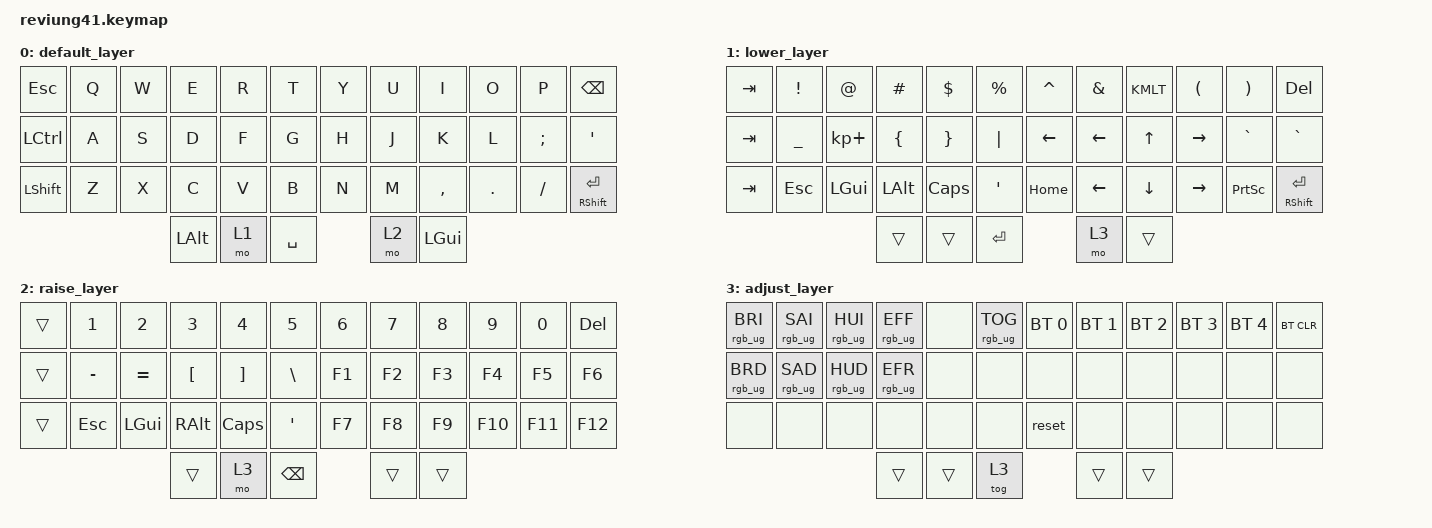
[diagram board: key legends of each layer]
/*
 * Copyright (c) 2020 The ZMK Contributors
 *
 * SPDX-License-Identifier: MIT
 */

#include <behaviors.dtsi>
#include <dt-bindings/zmk/keys.h>
#include <dt-bindings/zmk/bt.h>
#include <dt-bindings/zmk/rgb.h>

/ {
        keymap {
                compatible = "zmk,keymap";

                default_layer {
// -------------------------------------------------------------------------------------
// |  ESC |  Q  |  W  |  E  |  R  |  T  |   |  Y  |  U   |  I  |  O  |  P  |   BKSP    |
// | CTRL |  A  |  S  |  D  |  F  |  G  |   |  H  |  J   |  K  |  L  |  ;  |    '      |
// | SHFT |  Z  |  X  |  C  |  V  |  B  |   |  N  |  M   |  ,  |  .  |  /  | SHFT(RET) |
//                         | ALT | LWR | SPC | RSE  | ALT |
                        bindings = <
   &kp ESC   &kp Q &kp W &kp E &kp R &kp T   &kp Y &kp U  &kp I     &kp O   &kp P    &kp BSPC
   &kp LCTRL &kp A &kp S &kp D &kp F &kp G   &kp H &kp J  &kp K     &kp L   &kp SEMI &kp SQT
   &kp LSHFT &kp Z &kp X &kp C &kp V &kp B   &kp N &kp M  &kp COMMA &kp DOT &kp FSLH &mt RSHFT RET
                        &kp LALT  &mo 1 &kp SPACE &mo 2  &kp LGUI
                        >;
                };

                lower_layer {
// ----------------------------------------------------------------------------------
// |TAB |  !  |  @  |  #  |  $  |  %  |   |  ^  |  &  |  *  |  (  |  )  |    DEL    |
// |TAB |  _  |  +  |  {  |  }  | "|" |   | LFT | DWN |  UP | RGT |  `  |     ~     |
// |TAB | ESC | GUI | ALT | CAPS|  "  |   | HOME| END | PGUP| PGDN| PRSC| SHFT(RET) |
//                       |     |     | RET | ADJ |     |
                        bindings = <
   &kp TAB &kp EXCL  &kp AT      &kp HASH &kp DLLR &kp PRCNT      &kp CARET &kp AMPS &kp KMLT  &kp LPAR  &kp RPAR  &kp DEL
   &kp TAB &kp UNDER &kp KP_PLUS &kp LBRC &kp RBRC &kp PIPE       &kp LEFT  &kp LEFT &kp UP    &kp RIGHT &kp GRAVE &kp GRAVE
   &kp TAB &kp ESC   &kp LGUI    &kp LALT &kp CLCK &kp SQT        &kp HOME  &kp LEFT  &kp DOWN &kp RIGHT &kp PSCRN &mt RSHFT RET
                                 &trans      &trans       &kp RET        &mo 3       &trans
                        >;
                };

                raise_layer {
// -----------------------------------------------------------------------------------------
// |    |  1  |  2  |  3  |  4  |  5  |   |  6  |  7  |  8  |  9  |  0  | DEL |
// |    |  -  |  =  |  [  |  ]  |  \  |   | F1  | F2  | F3  | F4  | F5  | F6  |
// |    | ESC | GUI | ALT | CAPS|  "  |   | F7  | F8  | F9  | F10 | F11 | F12 |
//                       |     | ADJ | BKSP |    |     |
                        bindings = <
   &trans &kp N1    &kp N2    &kp N3    &kp N4    &kp N5        &kp N6    &kp N7    &kp N8    &kp N9    &kp N0    &kp DEL
   &trans &kp MINUS &kp EQUAL &kp LBKT  &kp RBKT  &kp BSLH      &kp F1    &kp F2    &kp F3    &kp F4    &kp F5    &kp F6
   &trans &kp ESC   &kp LGUI  &kp RALT  &kp CLCK  &kp SQT       &kp F7    &kp F8    &kp F9    &kp F10   &kp F11   &kp F12
                                &trans      &mo 3       &kp BSPC        &trans      &trans
                        >;
                };

                adjust_layer {
// -----------------------------------------------------------------------------------------
// | RGB BRI+ | RGB SAT+ | RGB HUE+ | RGB ANI+ |    | RGB TOG |   |  BT1  | BT2 | BT3 | BT4 | BT5 | BT CLR |
// | RGB BRI- | RGB SAT- | RGB HUE- | RGB ANI+ |    |         |   |       |     |     |     |     |        |
// |          |          |          |          |    |         |   | RESET |     |     |     |     |        |
//                                              |     |     |     |     |     |
                        bindings = <
   &rgb_ug RGB_BRI &rgb_ug RGB_SAI &rgb_ug RGB_HUI &rgb_ug RGB_EFF &none &rgb_ug RGB_TOG    &bt BT_SEL 0 &bt BT_SEL 1 &bt BT_SEL 2 &bt BT_SEL 3 &bt BT_SEL 4 &bt BT_CLR
   &rgb_ug RGB_BRD &rgb_ug RGB_SAD &rgb_ug RGB_HUD &rgb_ug RGB_EFR &none &none              &none        &none        &none        &none        &none        &none
   &none           &none           &none           &none           &none &none              &reset       &none        &none        &none        &none        &none
                                                             &trans      &trans       &tog 3        &trans      &trans
                        >;
                };
        };
};
&pro_micro_i2c {
    status = "okay";

    oled: ssd1306@3c {
        compatible = "solomon,ssd1306fb";
        reg = <0x3c>;
        label = "DISPLAY";
        width = <128>;
        height = <32>;
        segment-offset = <0>;
        page-offset = <0>;
        display-offset = <0>;
        multiplex-ratio = <31>;
        segment-remap;
        com-invdir;
        com-sequential;
        prechargep = <0x22>;
    };
};
